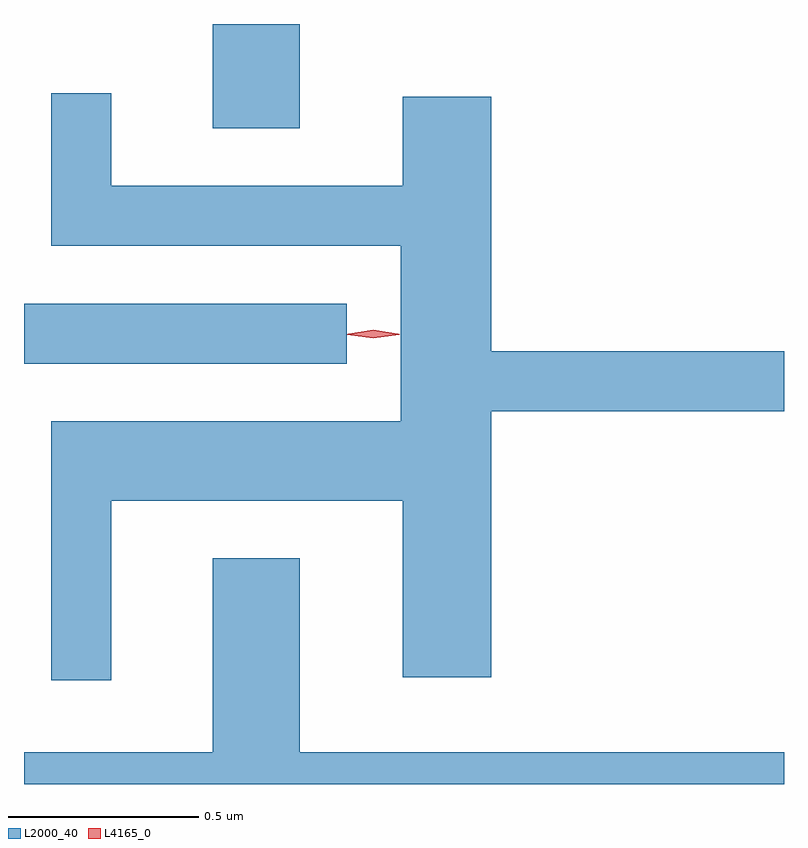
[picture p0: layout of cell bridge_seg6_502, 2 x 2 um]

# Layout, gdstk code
import gdstk
lib = gdstk.Library(unit=1e-6, precision=1e-09)
def R(c, l, rs):  # rectangles x0, y0, x1, y1
    for r in rs: c.add(gdstk.rectangle(r[:2], r[2:], *l))
def P(c, l, *ps):  # polygons
    for p in ps: c.add(gdstk.Polygon(p, *l))
L2000_40 = (2000, 40)
L4165_0 = (4165, 0)

bridge_seg6_502 = lib.new_cell('bridge_seg6_502')
R(bridge_seg6_502, L2000_40, [(616.454,1582.406,617.303,1582.564), (616.951,1583.026,617.179,1583.3)])
P(bridge_seg6_502, L2000_40, [(616.684,1582.046),(617.451,1582.046),(617.451,1581.581),(617.684,1581.581),(617.684,1582.281),(618.454,1582.281),(618.454,1582.439),(617.684,1582.439),(617.684,1583.109),(617.451,1583.109),(617.451,1582.874),(616.684,1582.874),(616.684,1583.118),(616.526,1583.118),(616.526,1582.716),(617.446,1582.716),(617.446,1582.254),(616.526,1582.254),(616.526,1581.573),(616.684,1581.573)],
  [(618.454,1581.384),(617.179,1581.384),(617.179,1581.894),(616.951,1581.894),(616.951,1581.384),(616.454,1581.384),(616.454,1581.3),(618.454,1581.3)])
P(bridge_seg6_502, L4165_0, [(617.373,1582.475),(617.308,1582.484),(617.307,1582.485),(617.308,1582.485),(617.373,1582.495),(617.438,1582.485),(617.439,1582.485),(617.438,1582.484)],
  [(617.373,1582.473),(617.304,1582.482),(617.304,1582.483),(617.304,1582.483),(617.373,1582.493),(617.442,1582.483),(617.443,1582.483),(617.442,1582.482)])

lib.write_gds('bridge_seg6_502.gds')
